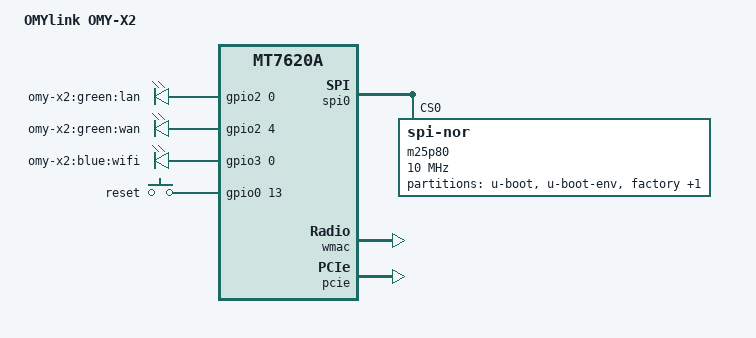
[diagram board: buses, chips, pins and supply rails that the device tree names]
/dts-v1/;

#include "mt7620a.dtsi"

#include <dt-bindings/gpio/gpio.h>
#include <dt-bindings/input/input.h>

/ {
	compatible = "mediatek,omy-x2", "mediatek,mt7620a-soc";
	model = "OMYlink OMY-X2";

	gpio-leds {
		compatible = "gpio-leds";

		lan {
			label = "omy-x2:green:lan";
			gpios = <&gpio2 0 GPIO_ACTIVE_HIGH>;
		};

		wan {
			label = "omy-x2:green:wan";
			gpios = <&gpio2 4 GPIO_ACTIVE_HIGH>;
		};

		wifi {
			label = "omy-x2:blue:wifi";
			gpios = <&gpio3 0 GPIO_ACTIVE_HIGH>;
		};
	};

	gpio-keys-polled {
		compatible = "gpio-keys-polled";
		#address-cells = <1>;
		#size-cells = <0>;
		poll-interval = <20>;

		reset {
			label = "reset";
			gpios = <&gpio0 13 GPIO_ACTIVE_HIGH>;
			linux,code = <KEY_RESTART>;
		};
	};
};

&gpio0 {
	status = "okay";
};

&gpio2 {
	status = "okay";
};

&gpio3 {
	status = "okay";
};

&spi0 {
	status = "okay";

	m25p80@0 {
		#address-cells = <1>;
		#size-cells = <1>;
		compatible = "jedec,spi-nor";
		reg = <0>;
		linux,modalias = "m25p80";
		spi-max-frequency = <10000000>;

		partition@0 {
			label = "u-boot";
			reg = <0x0 0x30000>;
			read-only;
		};

		partition@30000 {
			label = "u-boot-env";
			reg = <0x30000 0x10000>;
			read-only;
		};

		factory: partition@40000 {
			label = "factory";
			reg = <0x40000 0x10000>;
			read-only;
		};

		partition@50000 {
			label = "firmware";
			reg = <0x50000 0xfb0000>;
		};
	};
};

&ethernet {
	pinctrl-names = "default";
	pinctrl-0 = <&ephy_pins>;
	mtd-mac-address = <&factory 0x4>;
	mediatek,portmap = "llllw";
};

&wmac {
	ralink,mtd-eeprom = <&factory 0>;
};

&pcie {
	status = "okay";

	pcie-bridge {
		mt76@0,0 {
			reg = <0x0000 0 0 0 0>;
			device_type = "pci";
			mediatek,mtd-eeprom = <&factory 0x8000>;
			mediatek,2ghz = <0>;
		};
	};
};

&pinctrl {
	state_default: pinctrl0 {
		gpio {
			ralink,group = "wled", "uartf", "ephy";
			ralink,function = "gpio";
		};

		pa {
			ralink,group = "pa";
			ralink,function = "pa";
		};
	};
};
